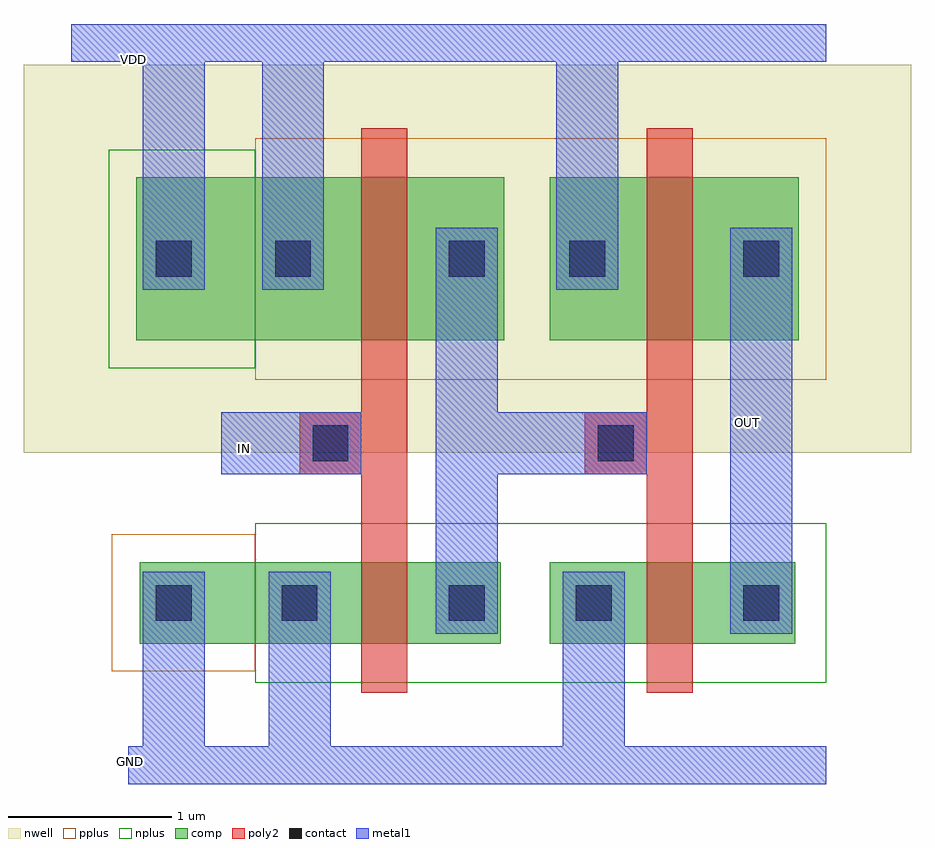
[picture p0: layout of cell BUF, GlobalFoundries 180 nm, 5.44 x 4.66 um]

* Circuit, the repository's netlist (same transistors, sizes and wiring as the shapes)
** sch_path: /foss/designs/BUF.sch
.subckt BUF IN OUT
*.PININFO IN:I OUT:O
M1 net1 IN VDD VDD pfet_03v3 L=0.28u W=1u nf=1 m=1
M2 net1 IN GND GND nfet_03v3 L=0.28u W=0.5u nf=1 m=1
M3 OUT net1 VDD VDD pfet_03v3 L=0.28u W=1u nf=1 m=1
M4 OUT net1 GND GND nfet_03v3 L=0.28u W=0.5u nf=1 m=1
.ends
.GLOBAL VDD
.GLOBAL GND

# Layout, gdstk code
import gdstk
lib = gdstk.Library(unit=1e-6, precision=5e-09)
def R(c, l, rs):  # rectangles x0, y0, x1, y1
    for r in rs: c.add(gdstk.rectangle(r[:2], r[2:], *l))
nwell = (21, 0)
comp = (22, 0)
poly2 = (30, 0)
pplus = (31, 0)
nplus = (32, 0)
contact = (33, 0)
metal1 = (34, 0)

buf = lib.new_cell('BUF')
R(buf, nwell, [(-1.55,0.955,3.89,3.335)])
R(buf, comp, [(-0.84,-0.215,-0.13,0.285), (-0.13,-0.215,0.35,0.285), (0.35,-0.215,0.955,0.285), (0.955,-0.215,1.375,0.285), (1.675,-0.215,2.155,0.285), (2.155,-0.215,2.76,0.285), (2.76,-0.215,3.18,0.285), (-0.86,1.645,-0.13,2.645), (-0.13,1.645,0.33,2.645), (0.33,1.645,0.935,2.645), (0.935,1.645,1.395,2.645), (1.675,1.645,2.135,2.645), (2.135,1.645,2.74,2.645), (2.74,1.645,3.2,2.645)])
R(buf, poly2, [(0.52,-0.515,0.8,2.945), (2.27,-0.515,2.55,2.945), (0.14,0.825,0.52,1.205), (1.89,0.825,2.27,1.205)])
R(buf, pplus, [(-1.01,-0.385,-0.13,0.455), (-0.13,1.405,1.62,2.885), (1.62,1.405,3.37,2.885)])
R(buf, nplus, [(-0.13,-0.455,1.62,0.525), (1.62,-0.455,3.37,0.525), (-1.03,1.475,-0.13,2.815)])
R(buf, contact, [(-0.74,-0.075,-0.52,0.145), (0.03,-0.075,0.25,0.145), (1.055,-0.075,1.275,0.145), (1.835,-0.075,2.055,0.145), (2.86,-0.075,3.08,0.145), (0.22,0.905,0.44,1.125), (1.97,0.905,2.19,1.125), (-0.74,2.035,-0.52,2.255), (-0.01,2.035,0.21,2.255), (1.055,2.035,1.275,2.255), (1.795,2.035,2.015,2.255), (2.86,2.035,3.08,2.255)])
R(buf, metal1, [(-0.91,-1.075,3.37,-0.845), (-0.82,-0.845,-0.44,-0.155), (-0.05,-0.845,0.33,-0.155), (1.755,-0.845,2.135,-0.155), (-0.82,-0.155,-0.44,0.225), (-0.05,-0.155,0.33,0.225), (0.975,-0.155,1.355,0.225), (1.755,-0.155,2.135,0.225), (2.78,-0.155,3.16,0.225), (0.975,0.225,1.355,1.955), (2.78,0.225,3.16,1.955), (-0.34,0.825,0.14,1.205), (0.14,0.825,0.52,1.205), (1.355,0.825,1.89,1.205), (1.89,0.825,2.27,1.205), (-0.82,1.955,-0.44,2.335), (-0.09,1.955,0.29,2.335), (0.975,1.955,1.355,2.335), (1.715,1.955,2.095,2.335), (2.78,1.955,3.16,2.335), (-0.82,2.335,-0.44,3.355), (-0.09,2.335,0.29,3.355), (1.715,2.335,2.095,3.355), (-1.26,3.355,3.37,3.585)])
buf.add(gdstk.Label('VDD', (-0.88,3.365), layer=34, texttype=10))
buf.add(gdstk.Label('GND', (-0.895,-0.94), layer=34, texttype=10))
buf.add(gdstk.Label('IN', (-0.2,0.98), layer=34, texttype=10))
buf.add(gdstk.Label('OUT', (2.885,1.14), layer=34, texttype=10))

lib.write_gds('BUF.gds')
